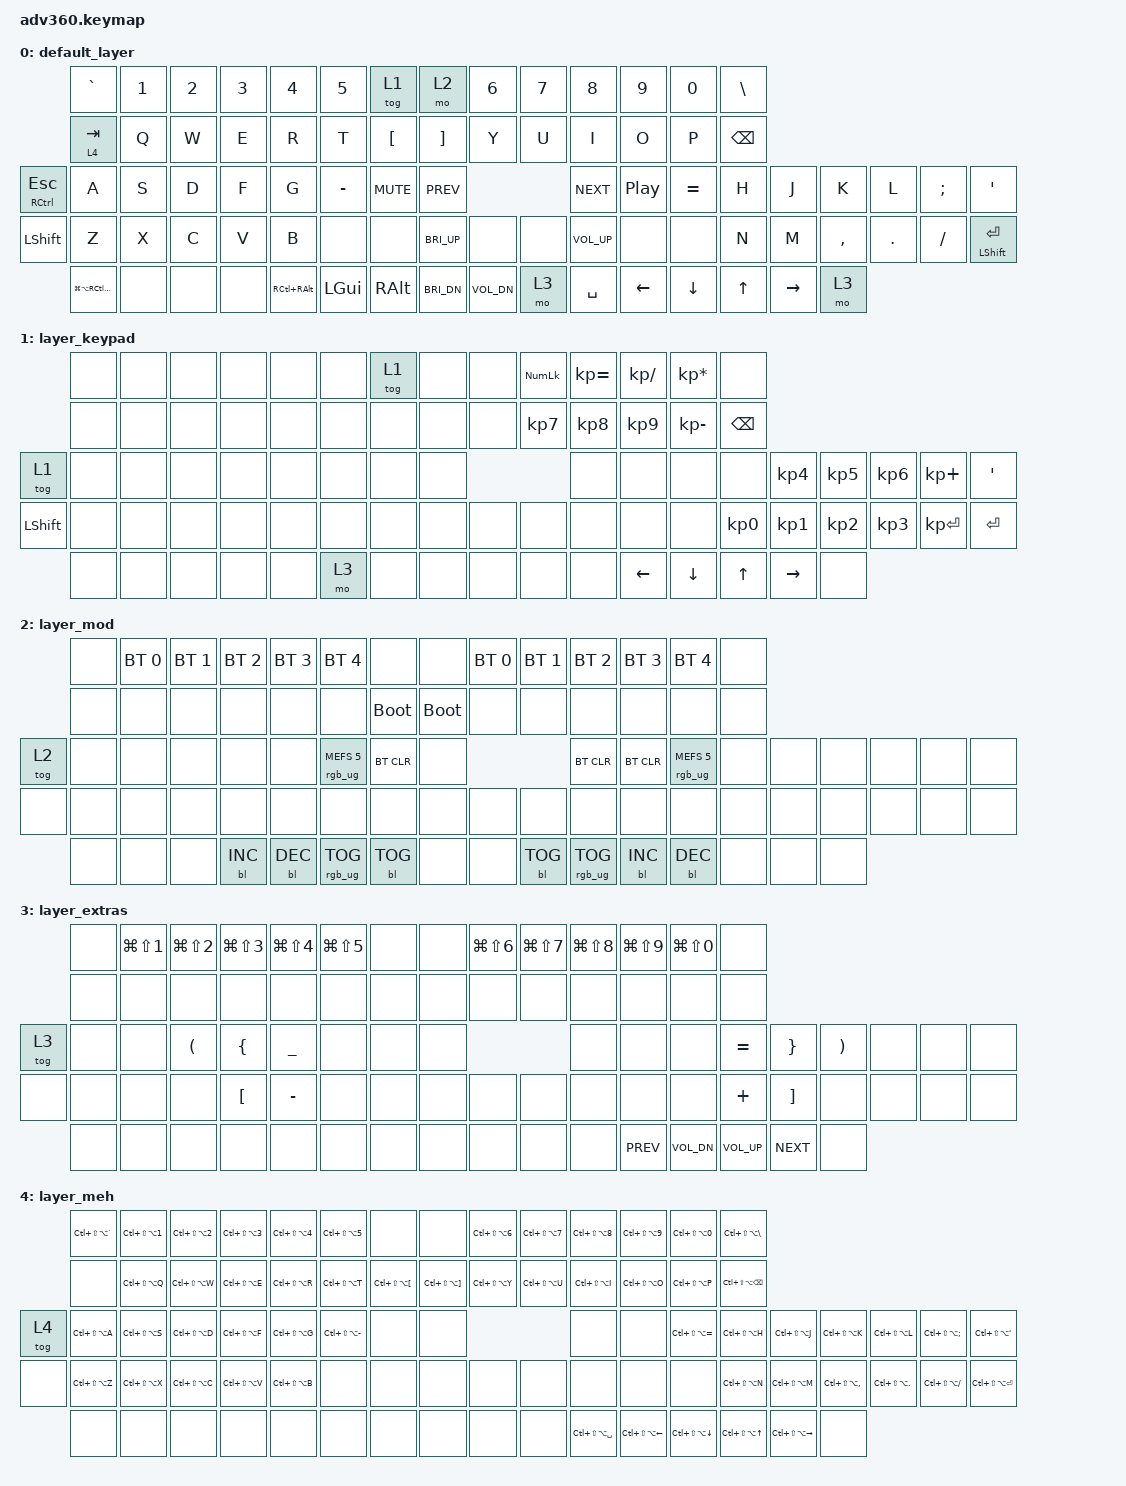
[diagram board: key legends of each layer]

/*
 * Copyright (c) 2020 The ZMK Contributors
 *
 * SPDX-License-Identifier: MIT
 */


/* THIS FILE WAS GENERATED!
 *
 * This file was generated automatically. You may or may not want to
 * edit it directly.
 */

#include <behaviors.dtsi>
#include <dt-bindings/zmk/keys.h>
#include <dt-bindings/zmk/bt.h>
#include <dt-bindings/zmk/rgb.h>
#include <dt-bindings/zmk/backlight.h>

/ {
  behaviors {
    #include "macros.dtsi"

    hm: homerow_mods {
        compatible = "zmk,behavior-hold-tap";
        label = "HOMEROW_MODS";
        #binding-cells = <2>;
        tapping-term-ms = <200>;
        quick_tap_ms = <175>;
        flavor = "tap-preferred";
        bindings = <&kp>, <&kp>;
    };
  };

    keymap {
        compatible = "zmk,keymap";


        default_layer {
            bindings = <
              &kp GRAVE  &kp N1  &kp N2  &kp N3  &kp N4        &kp N5                        &tog 1              &mo 2        &kp N6  &kp N7     &kp N8        &kp N9            &kp N0  &kp BACKSLASH
              &lt 4 TAB   &kp Q   &kp W   &kp E   &kp R         &kp T              &kp LEFT_BRACKET  &kp RIGHT_BRACKET         &kp Y   &kp U      &kp I         &kp O             &kp P  &kp BACKSPACE
  &mt RIGHT_CONTROL ESC   &kp A   &kp S   &kp D   &kp F         &kp G                     &kp MINUS         &kp C_MUTE    &kp C_PREV                       &kp C_NEXT  &kp C_PLAY_PAUSE      &kp EQUAL      &kp H   &kp J      &kp K    &kp L  &kp SEMI               &kp SQT
              &kp LSHFT   &kp Z   &kp X   &kp C   &kp V         &kp B                         &none              &none  &kp C_BRI_UP   &none      &none  &kp C_VOL_UP             &none          &none      &kp N   &kp M  &kp COMMA  &kp DOT  &kp FSLH  &mt LEFT_SHIFT ENTER
 &kp LG(LA(RC(LSHIFT)))   &none   &none   &none   &kp RC(RALT)  &kp LEFT_GUI                 &kp RIGHT_ALT       &kp C_BRI_DN  &kp C_VOL_DN   &mo 3  &kp SPACE      &kp LEFT          &kp DOWN         &kp UP  &kp RIGHT   &mo 3
            >;
        };

        layer_keypad {
            bindings = <
          &none   &none   &none   &none   &none   &none            &tog 1   &none   &none  &kp KP_NUM  &kp KP_EQUAL  &kp KP_DIVIDE  &kp KP_MULTIPLY          &none
          &none   &none   &none   &none   &none   &none             &none   &none   &none   &kp KP_N7     &kp KP_N8      &kp KP_N9     &kp KP_MINUS  &kp BACKSPACE
         &tog 1   &none   &none   &none   &none   &none             &none   &none   &none                                    &none            &none          &none      &none  &kp KP_N4  &kp KP_N5  &kp KP_N6   &kp KP_PLUS  &kp SINGLE_QUOTE
 &kp LEFT_SHIFT   &none   &none   &none   &none   &none             &none   &none   &none       &none         &none          &none            &none          &none  &kp KP_N0  &kp KP_N1  &kp KP_N2  &kp KP_N3  &kp KP_ENTER         &kp ENTER
          &none   &none   &none   &none   &none   &mo 3             &none   &none   &none       &none         &none       &kp LEFT         &kp DOWN         &kp UP  &kp RIGHT      &none
            >;
        };

        layer_mod {
            bindings = <
  &none  &bt BT_SEL 0  &bt BT_SEL 1  &bt BT_SEL 2  &bt BT_SEL 3     &bt BT_SEL 4                             &none        &none  &bt BT_SEL 0  &bt BT_SEL 1     &bt BT_SEL 2  &bt BT_SEL 3  &bt BT_SEL 4                   &none
  &none         &none         &none         &none         &none            &none                       &bootloader  &bootloader         &none         &none            &none         &none         &none                   &none
 &tog 2         &none         &none         &none         &none            &none            &rgb_ug RGB_MEFS_CMD 5   &bt BT_CLR         &none                                   &bt BT_CLR    &bt BT_CLR  &rgb_ug RGB_MEFS_CMD 5   &none   &none   &none   &none   &none   &none
  &none         &none         &none         &none         &none            &none                             &none        &none         &none         &none            &none         &none         &none                   &none   &none   &none   &none   &none   &none   &none
  &none         &none         &none    &bl BL_INC    &bl BL_DEC  &rgb_ug RGB_TOG                        &bl BL_TOG        &none         &none    &bl BL_TOG  &rgb_ug RGB_TOG    &bl BL_INC    &bl BL_DEC                   &none   &none   &none
            >;
        };

        layer_extras {
            bindings = <
  &none  &kp LG(LS(N1))  &kp LG(LS(N2))        &kp LG(LS(N3))    &kp LG(LS(N4))  &kp LG(LS(N5))            &none   &none  &kp LG(LS(N6))  &kp LG(LS(N7))  &kp LG(LS(N8))  &kp LG(LS(N9))  &kp LG(LS(N0))         &none
  &none           &none           &none                 &none             &none           &none            &none   &none           &none           &none           &none           &none           &none         &none
 &tog 3           &none           &none  &kp LEFT_PARENTHESIS    &kp LEFT_BRACE  &kp UNDERSCORE            &none   &none           &none                                           &none           &none         &none   &kp EQUAL    &kp RIGHT_BRACE  &kp RIGHT_PARENTHESIS   &none   &none   &none
  &none           &none           &none                 &none  &kp LEFT_BRACKET       &kp MINUS            &none   &none           &none           &none           &none           &none           &none         &none    &kp PLUS  &kp RIGHT_BRACKET                  &none   &none   &none   &none
  &none           &none           &none                 &none             &none           &none            &none   &none           &none           &none           &none      &kp C_PREV    &kp C_VOL_DN  &kp C_VOL_UP  &kp C_NEXT              &none
            >;
        };

        layer_meh {
            bindings = <
 &kp LC(LS(LA(GRAVE)))  &kp LC(LS(LA(N1)))  &kp LC(LS(LA(N2)))  &kp LC(LS(LA(N3)))  &kp LC(LS(LA(N4)))  &kp LC(LS(LA(N5)))                                   &none                          &none  &kp LC(LS(LA(N6)))  &kp LC(LS(LA(N7)))     &kp LC(LS(LA(N8)))    &kp LC(LS(LA(N9)))    &kp LC(LS(LA(N0)))  &kp LC(LS(LA(BACKSLASH)))
                 &none   &kp LC(LS(LA(Q)))   &kp LC(LS(LA(W)))   &kp LC(LS(LA(E)))   &kp LC(LS(LA(R)))   &kp LC(LS(LA(T)))            &kp LC(LS(LA(LEFT_BRACKET)))  &kp LC(LS(LA(RIGHT_BRACKET)))   &kp LC(LS(LA(Y)))   &kp LC(LS(LA(U)))      &kp LC(LS(LA(I)))     &kp LC(LS(LA(O)))     &kp LC(LS(LA(P)))  &kp LC(LS(LA(BACKSPACE)))
                &tog 4   &kp LC(LS(LA(A)))   &kp LC(LS(LA(S)))   &kp LC(LS(LA(D)))   &kp LC(LS(LA(F)))   &kp LC(LS(LA(G)))                   &kp LC(LS(LA(MINUS)))                          &none               &none                                                            &none                 &none      &kp LC(LS(LA(EQUAL)))      &kp LC(LS(LA(H)))  &kp LC(LS(LA(J)))      &kp LC(LS(LA(K)))       &kp LC(LS(LA(L)))  &kp LC(LS(LA(SEMICOLON)))  &kp LC(LS(LA(SINGLE_QUOTE)))
                 &none   &kp LC(LS(LA(Z)))   &kp LC(LS(LA(X)))   &kp LC(LS(LA(C)))   &kp LC(LS(LA(V)))   &kp LC(LS(LA(B)))                                   &none                          &none               &none               &none                  &none                 &none                 &none                      &none      &kp LC(LS(LA(N)))  &kp LC(LS(LA(M)))  &kp LC(LS(LA(COMMA)))  &kp LC(LS(LA(PERIOD)))      &kp LC(LS(LA(SLASH)))         &kp LC(LS(LA(ENTER)))
                 &none               &none               &none               &none               &none               &none                                   &none                          &none               &none               &none  &kp LC(LS(LA(SPACE)))  &kp LC(LS(LA(LEFT)))  &kp LC(LS(LA(DOWN)))         &kp LC(LS(LA(UP)))  &kp LC(LS(LA(RIGHT)))              &none
            >;
        };

    };
};
